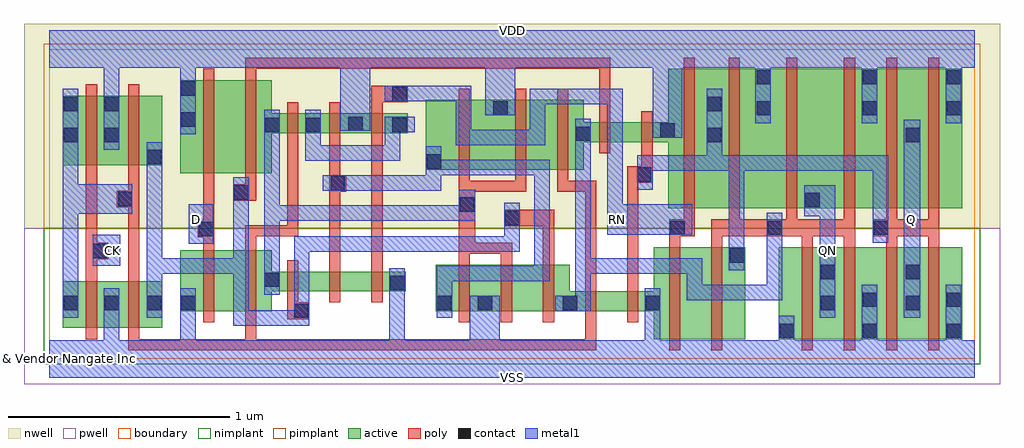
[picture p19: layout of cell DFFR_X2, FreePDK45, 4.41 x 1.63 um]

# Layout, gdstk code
import gdstk
lib = gdstk.Library(unit=1e-6, precision=1e-10)
def R(c, l, rs):  # rectangles x0, y0, x1, y1
    for r in rs: c.add(gdstk.rectangle(r[:2], r[2:], *l))
def P(c, l, *ps):  # polygons
    for p in ps: c.add(gdstk.Polygon(p, *l))
active = (1, 0)
pwell = (2, 0)
nwell = (3, 0)
nimplant = (4, 0)
pimplant = (5, 0)
poly = (9, 0)
contact = (10, 0)
metal1 = (11, 0)
boundary = (235, 0)

dffr_x2 = lib.new_cell('DFFR_X2')
R(dffr_x2, active, [(3.295,0.09,4.125,0.505), (0.06,0.14,0.51,0.35), (0.06,0.875,0.51,1.19)])
P(dffr_x2, active, [(0.59,0.215),(0.59,0.49),(1.005,0.49),(1.005,0.395),(1.61,0.395),(1.61,0.305),(1.005,0.305),(1.005,0.215)],
  [(0.59,0.84),(0.59,1.26),(1.005,1.26),(1.005,1.11),(1.62,1.11),(1.62,1.02),(1.005,1.02),(1.005,0.84)],
  [(2.73,0.09),(2.73,0.215),(1.745,0.215),(1.745,0.425),(2.35,0.425),(2.35,0.305),(2.73,0.305),(2.73,0.505),(3.145,0.505),(3.145,0.09)],
  [(2.795,0.68),(2.795,0.98),(2.415,0.98),(2.415,0.855),(1.7,0.855),(1.7,1.17),(2.415,1.17),(2.415,1.07),(2.795,1.07),(2.795,1.31),(4.125,1.31),(4.125,0.68)])
R(dffr_x2, pwell, [(-0.115,-0.115,4.295,0.59)])
R(dffr_x2, nwell, [(-0.115,0.59,4.295,1.515)])
R(dffr_x2, nimplant, [(-0.025,-0.025,4.205,0.59)])
R(dffr_x2, pimplant, [(-0.025,0.59,4.205,1.425)])
P(dffr_x2, poly, [(0.165,0.09),(0.165,1.24),(0.215,1.24),(0.215,0.525),(0.265,0.525),(0.265,0.45),(0.215,0.45),(0.215,0.09)],
  [(0.695,0.165),(0.695,0.55),(0.67,0.55),(0.67,0.625),(0.695,0.625),(0.695,1.31),(0.745,1.31),(0.745,0.165)],
  [(1.075,0.18),(1.075,0.445),(1.125,0.445),(1.125,0.255),(1.175,0.255),(1.175,0.18)],
  [(1.265,0.255),(1.265,1.16),(1.315,1.16),(1.315,0.83),(1.34,0.83),(1.34,0.755),(1.315,0.755),(1.315,0.255)],
  [(1.455,0.255),(1.455,1.235),(1.62,1.235),(1.62,1.16),(1.505,1.16),(1.505,0.255)],
  [(1.85,0.165),(1.85,1.22),(1.9,1.22),(1.9,0.805),(2.105,0.805),(2.105,1.22),(2.155,1.22),(2.155,0.755),(1.925,0.755),(1.925,0.525),(2.09,0.525),(2.09,0.165),(2.04,0.165),(2.04,0.475),(1.9,0.475),(1.9,0.165)],
  [(2.23,0.165),(2.23,0.6),(2.055,0.6),(2.055,0.675),(2.28,0.675),(2.28,0.165)],
  [(0.355,0.04),(0.355,0.685),(0.305,0.685),(0.305,0.76),(0.355,0.76),(0.355,1.24),(0.405,1.24),(0.405,0.09),(0.885,0.09),(0.885,0.605),(1.075,0.605),(1.075,1.16),(1.125,1.16),(1.125,0.555),(0.935,0.555),(0.935,0.09),(2.42,0.09),(2.42,0.755),(2.295,0.755),(2.295,1.22),(2.345,1.22),(2.345,0.805),(2.47,0.805),(2.47,0.04)],
  [(0.83,0.715),(0.83,0.79),(0.885,0.79),(0.885,1.36),(2.535,1.36),(2.535,0.93),(2.485,0.93),(2.485,1.31),(0.935,1.31),(0.935,0.715)],
  [(2.61,0.165),(2.61,0.87),(2.675,0.87),(2.675,1.12),(2.725,1.12),(2.725,0.795),(2.66,0.795),(2.66,0.165)],
  [(2.8,0.04),(2.8,0.63),(2.865,0.63),(2.865,1.36),(2.915,1.36),(2.915,0.555),(2.85,0.555),(2.85,0.04)],
  [(2.99,0.04),(2.99,0.63),(3.07,0.63),(3.07,1.36),(3.12,1.36),(3.12,0.63),(3.33,0.63),(3.33,1.36),(3.38,1.36),(3.38,0.63),(3.59,0.63),(3.59,1.36),(3.64,1.36),(3.64,0.04),(3.59,0.04),(3.59,0.555),(3.45,0.555),(3.45,0.04),(3.4,0.04),(3.4,0.555),(3.04,0.555),(3.04,0.04)],
  [(3.78,0.04),(3.78,0.555),(3.72,0.555),(3.72,0.63),(3.78,0.63),(3.78,1.36),(3.83,1.36),(3.83,0.63),(3.97,0.63),(3.97,1.36),(4.02,1.36),(4.02,0.04),(3.97,0.04),(3.97,0.555),(3.83,0.555),(3.83,0.04)])
R(dffr_x2, contact, [(3.3,0.095,3.365,0.16), (3.675,0.095,3.74,0.16), (4.055,0.095,4.12,0.16), (1.105,0.185,1.17,0.25), (0.065,0.22,0.13,0.285), (0.25,0.22,0.315,0.285), (0.44,0.22,0.505,0.285), (0.595,0.22,0.66,0.285), (1.75,0.22,1.815,0.285), (1.935,0.22,2,0.285), (2.32,0.22,2.385,0.285), (2.695,0.22,2.76,0.285), (3.485,0.22,3.55,0.285), (3.87,0.22,3.935,0.285), (3.675,0.235,3.74,0.3), (4.055,0.235,4.12,0.3), (1.54,0.31,1.605,0.375), (0.97,0.325,1.035,0.39), (3.485,0.36,3.55,0.425), (3.87,0.36,3.935,0.425), (3.075,0.435,3.14,0.5), (0.195,0.455,0.26,0.52), (0.675,0.555,0.74,0.62), (2.805,0.56,2.87,0.625), (3.245,0.56,3.31,0.625), (3.725,0.56,3.79,0.625), (2.06,0.605,2.125,0.67), (1.855,0.665,1.92,0.73), (3.415,0.685,3.48,0.75), (0.31,0.69,0.375,0.755), (0.835,0.72,0.9,0.785), (1.27,0.76,1.335,0.825), (2.655,0.8,2.72,0.865), (1.705,0.86,1.77,0.925), (0.44,0.88,0.505,0.945), (0.065,0.98,0.13,1.045), (0.25,0.98,0.315,1.045), (2.97,0.98,3.035,1.045), (3.87,0.98,3.935,1.045), (2.38,0.985,2.445,1.05), (2.76,1,2.825,1.065), (0.975,1.025,1.04,1.09), (1.16,1.025,1.225,1.09), (1.55,1.025,1.615,1.09), (1.35,1.03,1.415,1.095), (0.595,1.05,0.66,1.115), (2.005,1.1,2.07,1.165), (3.195,1.1,3.26,1.165), (3.675,1.1,3.74,1.165), (4.055,1.1,4.12,1.165), (0.065,1.12,0.13,1.185), (0.25,1.12,0.315,1.185), (2.97,1.12,3.035,1.185), (1.55,1.165,1.615,1.23), (0.595,1.19,0.66,1.255), (3.195,1.24,3.26,1.305), (3.675,1.24,3.74,1.305), (4.055,1.24,4.12,1.305)])
R(dffr_x2, metal1, [(3.86,0.185,3.935,1.08), (0.195,0.42,0.32,0.56), (0.63,0.52,0.74,0.7)])
P(dffr_x2, metal1, [(0.06,0.185),(0.06,1.22),(0.13,1.22),(0.13,0.79),(0.375,0.79),(0.375,0.655),(0.13,0.655),(0.13,0.185)],
  [(1.155,0.895),(1.155,1.125),(1.225,1.125),(1.225,0.965),(1.515,0.965),(1.515,1.095),(1.65,1.095),(1.65,1.025),(1.585,1.025),(1.585,0.895)],
  [(0.97,0.29),(0.97,1.125),(1.04,1.125),(1.04,0.695),(1.85,0.695),(1.85,0.765),(1.925,0.765),(1.925,0.625),(1.04,0.625),(1.04,0.29)],
  [(0.83,0.15),(0.83,0.385),(0.51,0.385),(0.51,0.185),(0.44,0.185),(0.44,0.98),(0.51,0.98),(0.51,0.455),(0.83,0.455),(0.83,0.82),(0.9,0.82),(0.9,0.22),(1.105,0.22),(1.105,0.555),(2.055,0.555),(2.055,0.705),(2.125,0.705),(2.125,0.485),(1.175,0.485),(1.175,0.15)],
  [(1.75,0.185),(1.75,0.42),(2.19,0.42),(2.19,0.83),(1.77,0.83),(1.77,0.76),(1.235,0.76),(1.235,0.83),(1.7,0.83),(1.7,0.96),(1.77,0.96),(1.77,0.9),(2.26,0.9),(2.26,0.35),(1.82,0.35),(1.82,0.185)],
  [(2.52,0.56),(2.52,1.15),(2.24,1.15),(2.24,0.965),(1.835,0.965),(1.835,1.165),(1.515,1.165),(1.515,1.235),(1.905,1.235),(1.905,1.035),(2.17,1.035),(2.17,1.22),(2.59,1.22),(2.59,0.7),(2.905,0.7),(2.905,0.56)],
  [(2.285,0.215),(2.285,0.285),(2.375,0.285),(2.375,1.085),(2.445,1.085),(2.445,0.455),(2.95,0.455),(2.95,0.335),(3.24,0.335),(3.24,0.66),(3.31,0.66),(3.31,0.265),(2.88,0.265),(2.88,0.385),(2.445,0.385),(2.445,0.215)],
  [(3.48,0.185),(3.48,0.645),(3.41,0.645),(3.41,0.785),(3.55,0.785),(3.55,0.185)],
  [(3.07,0.4),(3.07,0.85),(2.725,0.85),(2.725,0.765),(2.655,0.765),(2.655,0.92),(2.97,0.92),(2.97,1.22),(3.04,1.22),(3.04,0.92),(3.79,0.92),(3.79,0.525),(3.72,0.525),(3.72,0.85),(3.14,0.85),(3.14,0.4)],
  [(0,-0.085),(0,0.085),(0.245,0.085),(0.245,0.32),(0.315,0.32),(0.315,0.085),(0.59,0.085),(0.59,0.32),(0.66,0.32),(0.66,0.085),(1.535,0.085),(1.535,0.41),(1.605,0.41),(1.605,0.085),(1.9,0.085),(1.9,0.285),(2.035,0.285),(2.035,0.085),(2.69,0.085),(2.69,0.32),(2.76,0.32),(2.76,0.085),(3.295,0.085),(3.295,0.195),(3.365,0.195),(3.365,0.085),(3.67,0.085),(3.67,0.335),(3.74,0.335),(3.74,0.085),(4.05,0.085),(4.05,0.335),(4.12,0.335),(4.12,0.085),(4.18,0.085),(4.18,-0.085)],
  [(0.245,0.945),(0.245,1.315),(0,1.315),(0,1.485),(4.18,1.485),(4.18,1.315),(4.12,1.315),(4.12,1.065),(4.05,1.065),(4.05,1.315),(3.74,1.315),(3.74,1.065),(3.67,1.065),(3.67,1.315),(3.26,1.315),(3.26,1.065),(3.19,1.065),(3.19,1.315),(2.86,1.315),(2.86,1),(2.725,1),(2.725,1.315),(2.105,1.315),(2.105,1.1),(1.97,1.1),(1.97,1.315),(1.45,1.315),(1.45,1.03),(1.315,1.03),(1.315,1.315),(0.66,1.315),(0.66,1.015),(0.59,1.015),(0.59,1.315),(0.315,1.315),(0.315,0.945)])
R(dffr_x2, boundary, [(0,0,4.18,1.4)])
dffr_x2.add(gdstk.Label('CK', (0.285,0.49), layer=11, texttype=0))
dffr_x2.add(gdstk.Label('D', (0.665,0.63), layer=11, texttype=0))
dffr_x2.add(gdstk.Label('Q', (3.895,0.63), layer=11, texttype=0))
dffr_x2.add(gdstk.Label('QN', (3.515,0.49), layer=11, texttype=0))
dffr_x2.add(gdstk.Label('RN', (2.565,0.63), layer=11, texttype=0))
dffr_x2.add(gdstk.Label('VDD', (2.09,1.485), layer=11, texttype=0))
dffr_x2.add(gdstk.Label('VSS', (2.09,-0.085), layer=11, texttype=0))
dffr_x2.add(gdstk.Label('& Vendor Nangate Inc', (0,0), layer=63, texttype=63))
dffr_x2.add(gdstk.Label('& Product Open Cell Library', (0,0), layer=63, texttype=63))
dffr_x2.add(gdstk.Label('& Version 2010_12', (0,0), layer=63, texttype=63))
dffr_x2.add(gdstk.Label('& Instance DFFR_X2', (0,0), layer=63, texttype=63))

lib.write_gds('DFFR_X2.gds')
